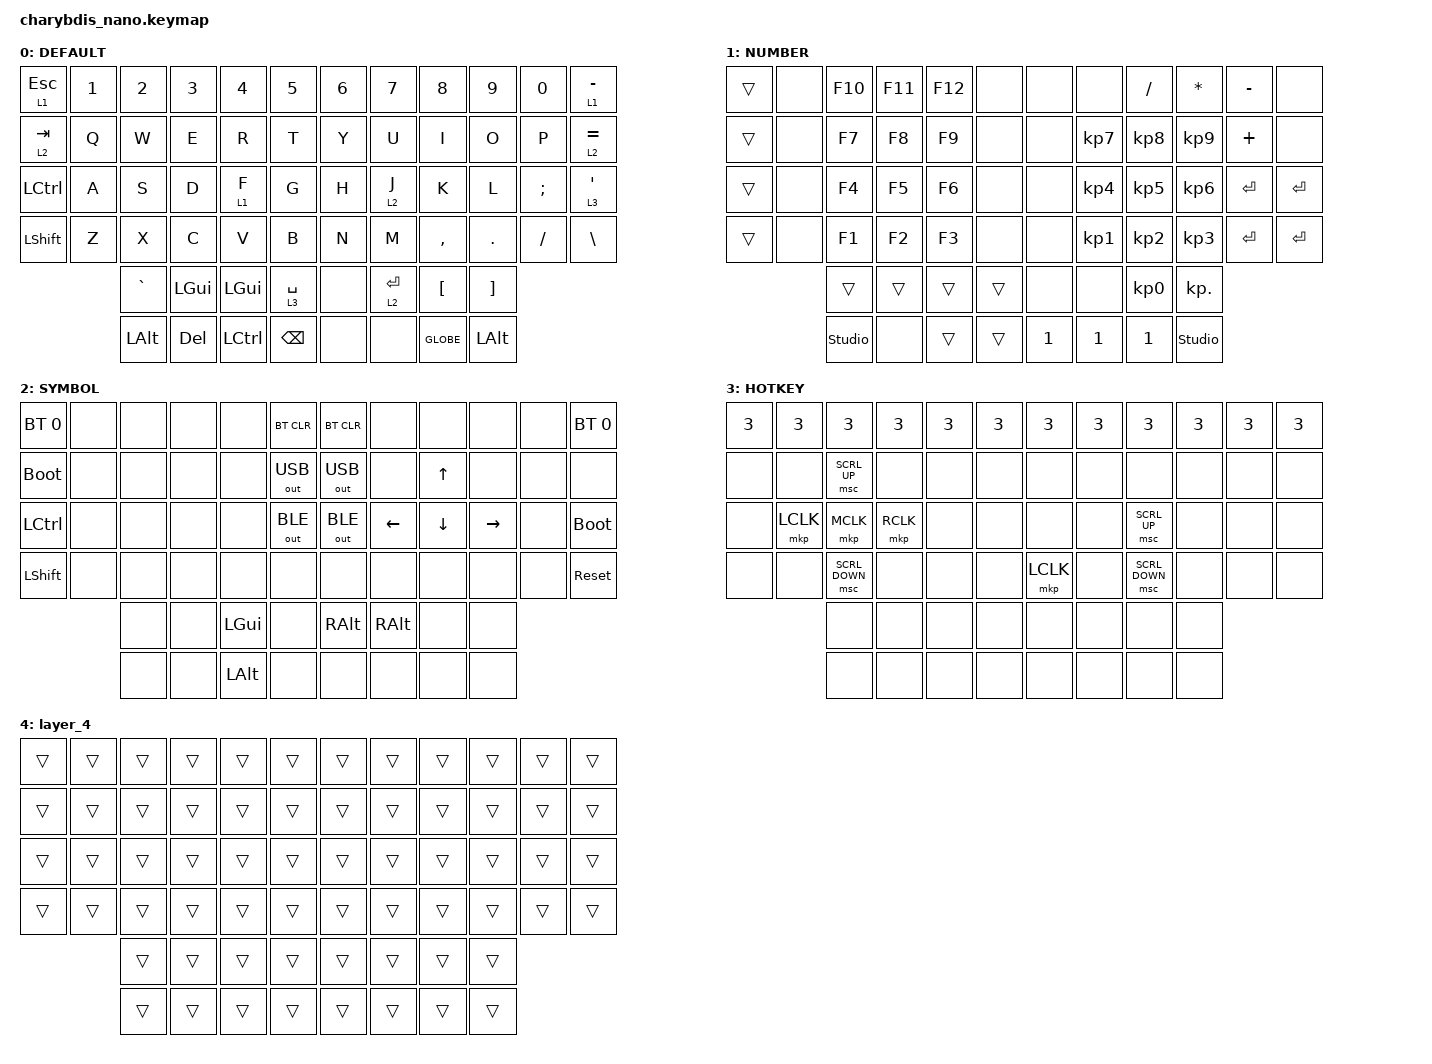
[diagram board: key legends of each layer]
#include <behaviors.dtsi>
#include <dt-bindings/zmk/bt.h>
#include <dt-bindings/zmk/keys.h>
#include <dt-bindings/zmk/outputs.h>
#include <dt-bindings/zmk/pointing.h>

#define DEFAULT 0
#define NUMBER  1
#define SYMBOL  2
#define HOTKEY  3

&lt {
    tapping-term-ms = <200>;
    flavor = "balanced";
    quick-tap-ms = <170>;
};

/ {
    behaviors {
        td0: tap_dance_0 {
            compatible = "zmk,behavior-tap-dance";
            label = "L_CLK";
            #binding-cells = <0>;
            tapping-term-ms = <200>;
            bindings = <&mkp LCLK>, <&mkp LCLK>;
        };

        td1: tap_dance_1 {
            compatible = "zmk,behavior-tap-dance";
            label = "M_CLK";
            #binding-cells = <0>;
            tapping-term-ms = <200>;
            bindings = <&mkp MCLK>, <&mkp MCLK>;
        };

        td2: tap_dance_2 {
            compatible = "zmk,behavior-tap-dance";
            label = "R_CLK";
            #binding-cells = <0>;
            tapping-term-ms = <200>;
            bindings = <&mkp RCLK>, <&mkp RCLK>;
        };
    };

    combos {
        compatible = "zmk,combos";

        combo_esc {
            timeout-ms = <50>;
            key-positions = <14 15>;
            bindings = <&mkp LCLK>;
        };

        combo_rgui {
            timeout-ms = <50>;
            key-positions = <26 27>;
            bindings = <&mkp MCLK>;
        };

        combo_LSHFT {
            timeout-ms = <50>;
            key-positions = <38 39>;
            bindings = <&mkp RCLK>;
        };

        combo_2 {
            timeout-ms = <50>;
            key-positions = <>;
            bindings = <&kp N2 >;
        };

        combo_GUI {
            timeout-ms = <50>;
            key-positions = <>;
            bindings = <&tog 1>;
        };
    };

    keymap {
        compatible = "zmk,keymap";

        default_layer {
            label = "DEFAULT";
            bindings = <
&lt 1 ESC   &kp N1  &kp N2     &kp N3      &kp N4        &kp N5         &kp N6  &kp N7       &kp N8     &kp N9    &kp N0    &lt 1 MINUS
&lt 2 TAB   &kp Q   &kp W      &kp E       &kp R         &kp T          &kp Y   &kp U        &kp I      &kp O     &kp P     &lt 2 EQUAL
&kp LCTRL   &kp A   &kp S      &kp D       &lt 1 F       &kp G          &kp H   &lt 2 J      &kp K      &kp L     &kp SEMI  &lt 3 SQT
&kp LSHIFT  &kp Z   &kp X      &kp C       &kp V         &kp B          &kp N   &kp M        &kp COMMA  &kp DOT   &kp FSLH  &kp BSLH
                    &kp GRAVE  &kp LGUI    &kp LEFT_GUI  &lt 3 SPACE    &none   &lt 2 ENTER  &kp LBKT   &kp RBKT
                    &kp LALT   &kp DELETE  &kp LCTRL     &kp BACKSPACE  &none   &none        &kp GLOBE  &kp LALT
            >;
        };

        number_layer {
            label = "NUMBER";
            bindings = <
&trans  &none  &kp F10         &kp F11  &kp F12  &none   &none   &none      &kp FSLH   &kp STAR        &kp MINUS  &none
&trans  &none  &kp F7          &kp F8   &kp F9   &none   &none   &kp KP_N7  &kp KP_N8  &kp KP_N9       &kp PLUS   &none
&trans  &none  &kp F4          &kp F5   &kp F6   &none   &none   &kp KP_N4  &kp KP_N5  &kp KP_N6       &kp ENTER  &kp RET
&trans  &none  &kp F1          &kp F2   &kp F3   &none   &none   &kp KP_N1  &kp KP_N2  &kp KP_N3       &kp ENTER  &kp ENTER
               &trans          &trans   &trans   &trans  &none   &none      &kp KP_N0  &kp KP_DOT
               &studio_unlock  &none    &trans   &trans  &kp N1  &kp N1     &kp N1     &studio_unlock
            >;
        };

        symbol_layer {
            label = "SYMBOL";
            bindings = <
&bt BT_SEL 0    &none  &none  &none  &none         &bt BT_CLR    &bt BT_CLR     &none          &none     &none      &none  &bt BT_SEL 0
&bootloader     &none  &none  &none  &none         &out OUT_USB  &out OUT_USB   &none          &kp UP    &none      &none  &none
&kp LCTRL       &none  &none  &none  &none         &out OUT_BLE  &out OUT_BLE   &kp LEFT       &kp DOWN  &kp RIGHT  &none  &bootloader
&kp LEFT_SHIFT  &none  &none  &none  &none         &none         &none          &none          &none     &none      &none  &sys_reset
                       &none  &none  &kp LEFT_GUI  &none         &kp RIGHT_ALT  &kp RIGHT_ALT  &none     &none
                       &none  &none  &kp LEFT_ALT  &none         &none          &none          &none     &none
            >;
        };

        hotkey_layer {
            label = "HOTKEY";
            bindings = <
&kp N3  &kp N3     &kp N3          &kp N3     &kp N3  &kp N3  &kp N3     &kp N3  &kp N3          &kp N3  &kp N3  &kp N3
&none   &none      &msc SCRL_UP    &none      &none   &none   &none      &none   &none           &none   &none   &none
&none   &mkp LCLK  &mkp MCLK       &mkp RCLK  &none   &none   &none      &none   &msc SCRL_UP    &none   &none   &none
&none   &none      &msc SCRL_DOWN  &none      &none   &none   &mkp LCLK  &none   &msc SCRL_DOWN  &none   &none   &none
                   &none           &none      &none   &none   &none      &none   &none           &none
                   &none           &none      &none   &none   &none      &none   &none           &none
            >;
        };

        layer_4 {
            bindings = <
&trans  &trans  &trans  &trans  &trans  &trans  &trans  &trans  &trans  &trans  &trans  &trans
&trans  &trans  &trans  &trans  &trans  &trans  &trans  &trans  &trans  &trans  &trans  &trans
&trans  &trans  &trans  &trans  &trans  &trans  &trans  &trans  &trans  &trans  &trans  &trans
&trans  &trans  &trans  &trans  &trans  &trans  &trans  &trans  &trans  &trans  &trans  &trans
                &trans  &trans  &trans  &trans  &trans  &trans  &trans  &trans
                &trans  &trans  &trans  &trans  &trans  &trans  &trans  &trans
            >;
        };
    };
};
